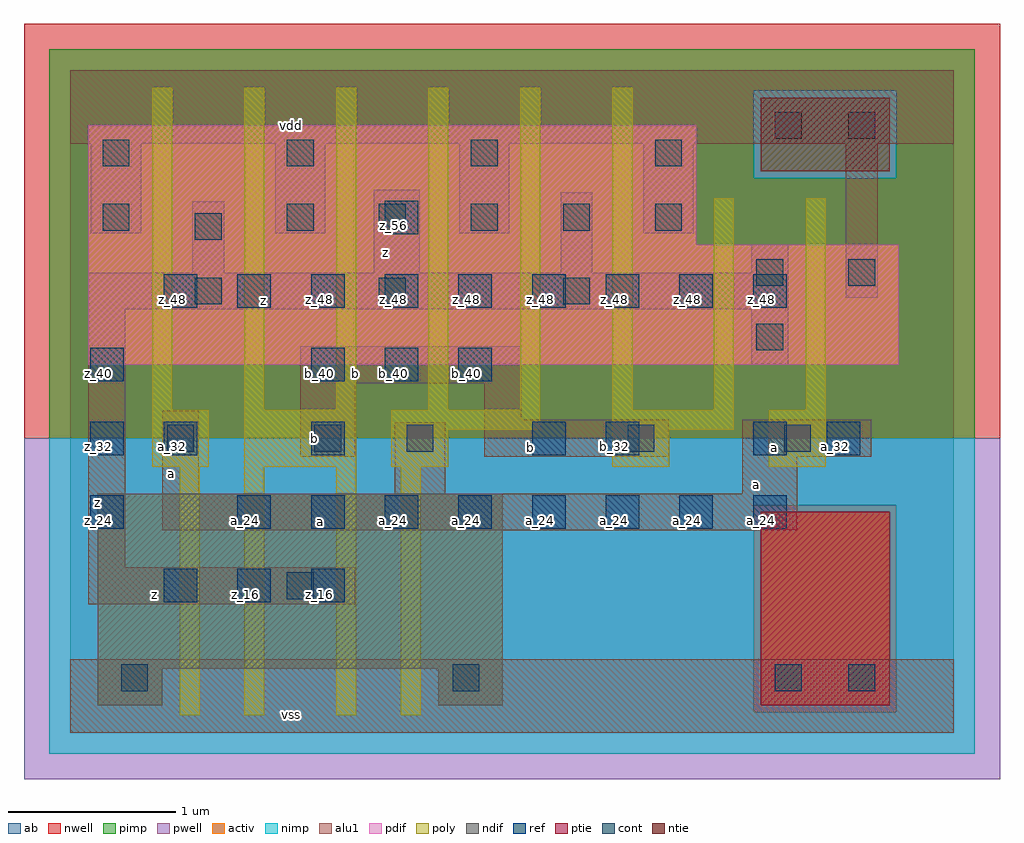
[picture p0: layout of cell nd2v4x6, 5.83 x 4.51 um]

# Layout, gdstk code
import gdstk
lib = gdstk.Library(unit=1e-6, precision=2.5e-09)
def R(c, l, rs):  # rectangles x0, y0, x1, y1
    for r in rs: c.add(gdstk.rectangle(r[:2], r[2:], *l))
def A(c, l, x, y, w, h, nx, ny, dx, dy):  # array of equal rectangles
    R(c, l, [(x+i*dx, y+j*dy, x+i*dx+w, y+j*dy+h) for i in range(nx) for j in range(ny)])
ndif = (3, 0)
pdif = (4, 0)
ntie = (5, 0)
ptie = (6, 0)
ref = (24, 0)
cont = (25, 0)
pwell = (41, 0)
nwell = (42, 0)
activ = (43, 0)
pimp = (44, 0)
nimp = (45, 0)
poly = (46, 0)
alu1 = (49, 0)
ab = (63, 0)

nd2v4x6 = lib.new_cell('nd2v4x6')
R(nd2v4x6, ndif, [(0.165,0.165,0.55,0.385), (2.2,0.165,2.585,0.385), (0.165,0.385,2.585,1.43)])
R(nd2v4x6, pdif, [(0.11,2.2,4.95,2.915), (0.11,2.915,3.74,3.63)])
R(nd2v4x6, ntie, [(4.125,3.355,4.895,3.795)])
R(nd2v4x6, ptie, [(4.125,0.165,4.895,1.32)])
A(nd2v4x6, ref, 0.56, 0.78, 0.2, 0.2, 3, 1, 0.44, 0)
A(nd2v4x6, ref, 0.12, 1.22, 0.2, 0.2, 1, 3, 0, 0.44)
A(nd2v4x6, ref, 1, 1.22, 0.2, 0.2, 8, 1, 0.44, 0)
A(nd2v4x6, ref, 1.44, 2.1, 0.2, 0.2, 3, 1, 0.44, 0)
A(nd2v4x6, ref, 0.56, 2.54, 0.2, 0.2, 9, 1, 0.44, 0)
R(nd2v4x6, ref, [(0.56,1.66,0.76,1.86), (1.44,1.66,1.64,1.86), (2.76,1.66,2.96,1.86), (3.2,1.66,3.4,1.86), (4.08,1.66,4.28,1.86), (4.52,1.66,4.72,1.86), (1.88,2.98,2.08,3.18)])
A(nd2v4x6, cont, 0.745, 2.56, 0.16, 0.16, 3, 1, 1.1, 0)
A(nd2v4x6, cont, 1.295, 3, 0.16, 0.16, 5, 1, 0.55, 0)
A(nd2v4x6, cont, 0.195, 3.385, 0.16, 0.16, 4, 1, 1.1, 0)
R(nd2v4x6, cont, [(0.305,0.25,0.465,0.41), (2.285,0.25,2.445,0.41), (4.21,0.25,4.37,0.41), (4.65,0.25,4.81,0.41), (1.295,0.8,1.455,0.96), (0.58,1.68,0.74,1.84), (1.46,1.68,1.62,1.84), (2.01,1.68,2.17,1.84), (3.33,1.68,3.49,1.84), (4.265,1.68,4.425,1.84), (4.1,2.285,4.26,2.445), (4.1,2.67,4.26,2.83), (4.65,2.67,4.81,2.83), (0.745,2.945,0.905,3.105), (0.195,3,0.355,3.16), (4.21,3.55,4.37,3.71), (4.65,3.55,4.81,3.71)])
R(nd2v4x6, pwell, [(-0.275,-0.275,5.555,1.76)])
R(nd2v4x6, nwell, [(-0.275,1.76,5.555,4.235)])
R(nd2v4x6, activ, [(0.165,0.165,0.55,0.385), (2.2,0.165,2.585,0.385), (4.125,0.165,4.895,1.32), (0.165,0.385,2.585,1.43), (0.11,2.2,4.95,2.915), (0.11,2.915,3.74,3.63), (4.125,3.355,4.895,3.795)])
R(nd2v4x6, pimp, [(4.085,0.125,4.935,1.36), (-0.125,1.76,5.405,3.315), (-0.125,3.315,4.085,3.835), (4.935,3.315,5.405,3.835), (-0.125,3.835,5.405,4.085)])
R(nd2v4x6, nimp, [(-0.125,-0.125,5.405,0.125), (-0.125,0.125,4.085,1.36), (4.935,0.125,5.405,1.36), (-0.125,1.36,5.405,1.76), (4.085,3.315,4.935,3.835)])
A(nd2v4x6, poly, 0.49, 1.93, 0.12, 1.925, 6, 1, 0.55, 0)
R(nd2v4x6, poly, [(0.655,0.105,0.775,1.59), (1.04,0.105,1.16,1.59), (1.59,0.105,1.71,1.59), (1.975,0.105,2.095,1.59), (0.49,1.59,0.83,1.93), (1.04,1.59,1.71,1.93), (1.92,1.59,2.26,1.81), (3.24,1.59,3.58,1.81), (4.175,1.59,4.515,1.93), (1.92,1.81,2.81,1.93), (3.24,1.81,3.965,1.93), (3.845,1.93,3.965,3.195), (4.395,1.93,4.515,3.195)])
A(nd2v4x6, alu1, 0.125, 2.985, 0.3, 0.535, 4, 1, 1.1, 0)
R(nd2v4x6, alu1, [(0,0,5.28,0.44), (0.11,0.77,1.705,0.99), (0.11,0.99,0.33,2.53), (0.55,1.21,4.345,1.43), (0.55,1.43,0.77,1.925), (1.94,1.43,2.24,1.855), (4.015,1.43,4.345,1.65), (1.375,1.65,1.705,2.09), (2.475,1.65,3.575,1.87), (4.015,1.65,4.785,1.87), (2.475,1.87,2.695,2.09), (1.375,2.09,2.695,2.31), (4.07,2.2,4.29,2.53), (0.11,2.53,4.29,2.75), (4.635,2.6,4.825,3.52), (0.73,2.75,0.92,3.175), (1.815,2.75,2.09,3.245), (2.93,2.75,3.12,3.23), (4.07,2.75,4.29,2.915), (0,3.52,5.28,3.96)])
R(nd2v4x6, ab, [(0,0,5.28,3.96)])
nd2v4x6.add(gdstk.Label('vss', (1.32,0.11), layer=49, texttype=0))
nd2v4x6.add(gdstk.Label('z', (0.5075,0.825), layer=49, texttype=0))
nd2v4x6.add(gdstk.Label('a', (1.4975,1.265), layer=49, texttype=0))
nd2v4x6.add(gdstk.Label('a', (4.0975,1.485), layer=49, texttype=0))
nd2v4x6.add(gdstk.Label('a', (4.2075,1.705), layer=49, texttype=0))
nd2v4x6.add(gdstk.Label('b', (2.75,1.705), layer=49, texttype=0))
nd2v4x6.add(gdstk.Label('b', (1.4575,1.76), layer=49, texttype=0))
nd2v4x6.add(gdstk.Label('a', (0.605,1.5525), layer=49, texttype=0))
nd2v4x6.add(gdstk.Label('b', (1.705,2.145), layer=49, texttype=0))
nd2v4x6.add(gdstk.Label('z', (0.165,1.375), layer=49, texttype=0))
nd2v4x6.add(gdstk.Label('z', (1.155,2.585), layer=49, texttype=0))
nd2v4x6.add(gdstk.Label('z', (1.8825,2.8725), layer=49, texttype=0))
nd2v4x6.add(gdstk.Label('vdd', (1.32,3.63), layer=49, texttype=0))
nd2v4x6.add(gdstk.Label('z_16', (0.61,0.83), layer=24, texttype=0))
nd2v4x6.add(gdstk.Label('a_32', (0.61,1.71), layer=24, texttype=0))
nd2v4x6.add(gdstk.Label('z_48', (0.61,2.59), layer=24, texttype=0))
nd2v4x6.add(gdstk.Label('z_16', (1.05,0.83), layer=24, texttype=0))
nd2v4x6.add(gdstk.Label('a_24', (1.05,1.27), layer=24, texttype=0))
nd2v4x6.add(gdstk.Label('z_48', (1.05,2.59), layer=24, texttype=0))
nd2v4x6.add(gdstk.Label('z_16', (1.49,0.83), layer=24, texttype=0))
nd2v4x6.add(gdstk.Label('a_24', (1.49,1.27), layer=24, texttype=0))
nd2v4x6.add(gdstk.Label('b_32', (1.49,1.71), layer=24, texttype=0))
nd2v4x6.add(gdstk.Label('b_40', (1.49,2.15), layer=24, texttype=0))
nd2v4x6.add(gdstk.Label('z_48', (1.49,2.59), layer=24, texttype=0))
nd2v4x6.add(gdstk.Label('a_24', (1.93,1.27), layer=24, texttype=0))
nd2v4x6.add(gdstk.Label('b_40', (1.93,2.15), layer=24, texttype=0))
nd2v4x6.add(gdstk.Label('z_48', (1.93,2.59), layer=24, texttype=0))
nd2v4x6.add(gdstk.Label('z_56', (1.93,3.03), layer=24, texttype=0))
nd2v4x6.add(gdstk.Label('z_24', (0.17,1.27), layer=24, texttype=0))
nd2v4x6.add(gdstk.Label('z_32', (0.17,1.71), layer=24, texttype=0))
nd2v4x6.add(gdstk.Label('z_40', (0.17,2.15), layer=24, texttype=0))
nd2v4x6.add(gdstk.Label('a_24', (2.37,1.27), layer=24, texttype=0))
nd2v4x6.add(gdstk.Label('b_40', (2.37,2.15), layer=24, texttype=0))
nd2v4x6.add(gdstk.Label('z_48', (2.37,2.59), layer=24, texttype=0))
nd2v4x6.add(gdstk.Label('a_24', (2.81,1.27), layer=24, texttype=0))
nd2v4x6.add(gdstk.Label('b_32', (2.81,1.71), layer=24, texttype=0))
nd2v4x6.add(gdstk.Label('z_48', (2.81,2.59), layer=24, texttype=0))
nd2v4x6.add(gdstk.Label('a_24', (3.25,1.27), layer=24, texttype=0))
nd2v4x6.add(gdstk.Label('b_32', (3.25,1.71), layer=24, texttype=0))
nd2v4x6.add(gdstk.Label('z_48', (3.25,2.59), layer=24, texttype=0))
nd2v4x6.add(gdstk.Label('a_24', (3.69,1.27), layer=24, texttype=0))
nd2v4x6.add(gdstk.Label('z_48', (3.69,2.59), layer=24, texttype=0))
nd2v4x6.add(gdstk.Label('a_24', (4.13,1.27), layer=24, texttype=0))
nd2v4x6.add(gdstk.Label('a_32', (4.13,1.71), layer=24, texttype=0))
nd2v4x6.add(gdstk.Label('z_48', (4.13,2.59), layer=24, texttype=0))
nd2v4x6.add(gdstk.Label('a_32', (4.57,1.71), layer=24, texttype=0))

lib.write_gds('nd2v4x6.gds')
